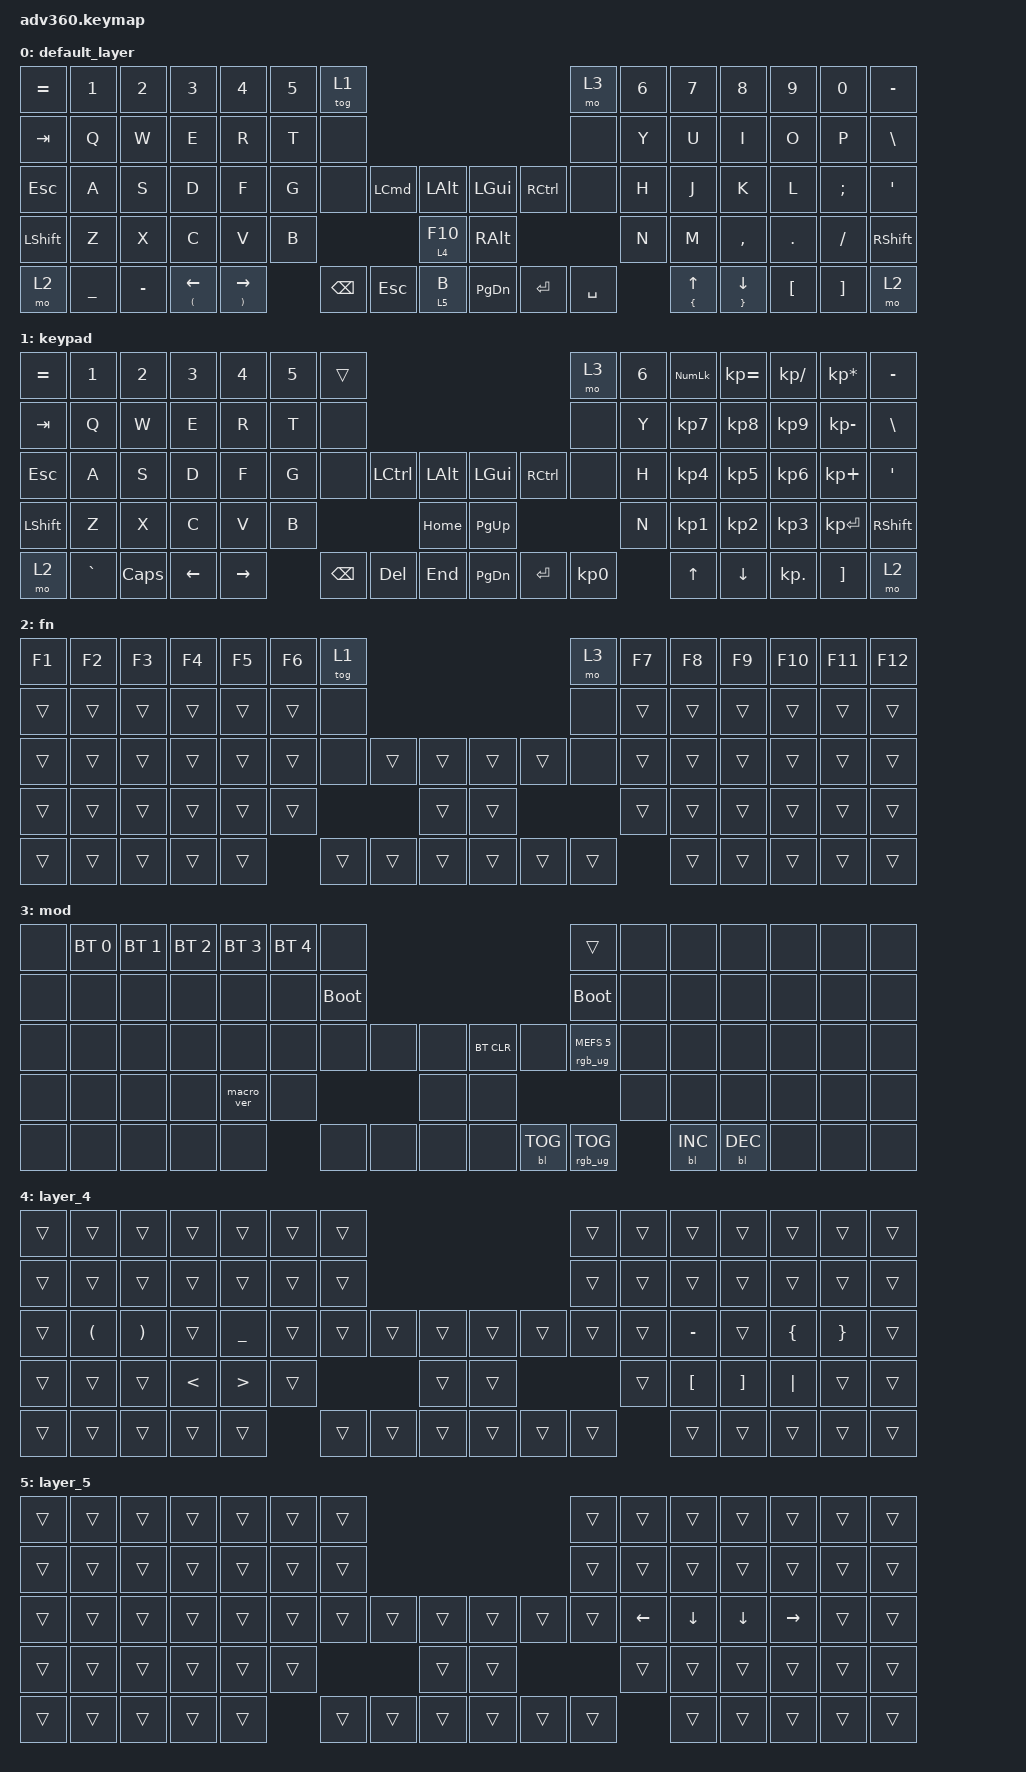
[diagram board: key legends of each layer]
#include <behaviors.dtsi>
#include <dt-bindings/zmk/backlight.h>
#include <dt-bindings/zmk/bt.h>
#include <dt-bindings/zmk/keys.h>
#include <dt-bindings/zmk/rgb.h>

/ {
    behaviors {
        #include "macros.dtsi"
      #include "version.dtsi"
      #ifndef VERSION_MACRO

        macro_ver: macro_ver {
            compatible = "zmk,behavior-macro";
            label = "macro_version";
            #binding-cells = <0>;
            bindings = <&kp RET>;
        };

        #endif

        hm: homerow_mods {
            compatible = "zmk,behavior-hold-tap";
            label = "HOMEROW_MODS";
            #binding-cells = <2>;
            tapping-term-ms = <200>;
            quick_tap_ms = <175>;
            flavor = "tap-preferred";
            bindings = <&kp>, <&kp>;
        };

        hold_tap: hold_tap {
            compatible = "zmk,behavior-hold-tap";
            label = "HOLD_TAP";
            bindings = <&kp>, <&kp>;

            #binding-cells = <2>;
            tapping-term-ms = <200>;
        };
    };

    macros {
    };

    keymap {
        compatible = "zmk,keymap";

        default_layer {
            bindings = <
&kp EQUAL  &kp N1     &kp N2     &kp N3                                 &kp N4                             &kp N5  &tog 1                                                               &mo 3      &kp N6  &kp N7                         &kp N8                            &kp N9    &kp N0    &kp MINUS
&kp TAB    &kp Q      &kp W      &kp E                                  &kp R                              &kp T   &none                                                                &none      &kp Y   &kp U                          &kp I                             &kp O     &kp P     &kp BSLH
&kp ESC    &kp A      &kp S      &kp D                                  &kp F                              &kp G   &none     &kp LEFT_COMMAND  &kp LALT       &kp LGUI       &kp RCTRL  &none      &kp H   &kp J                          &kp K                             &kp L     &kp SEMI  &kp SQT
&kp LSHFT  &kp Z      &kp X      &kp C                                  &kp V                              &kp B                               &lt 4 F10      &kp RIGHT_ALT                        &kp N   &kp M                          &kp COMMA                         &kp DOT   &kp FSLH  &kp RSHFT
&mo 2      &kp UNDER  &kp MINUS  &hold_tap LEFT_PARENTHESIS LEFT_ARROW  &hold_tap RIGHT_PARENTHESIS RIGHT          &kp BSPC  &kp ESC           &lt 5 B        &kp PG_DN      &kp ENTER  &kp SPACE          &hold_tap LEFT_BRACE UP_ARROW  &hold_tap RIGHT_BRACE DOWN_ARROW  &kp LBKT  &kp RBKT  &mo 2
            >;
        };

        keypad {
            bindings = <
&kp EQUAL  &kp N1     &kp N2    &kp N3    &kp N4     &kp N5  &trans                                                   &mo 3      &kp N6  &kp KP_NUM  &kp KP_EQUAL  &kp KP_DIVIDE  &kp KP_MULTIPLY  &kp MINUS
&kp TAB    &kp Q      &kp W     &kp E     &kp R      &kp T   &none                                                    &none      &kp Y   &kp KP_N7   &kp KP_N8     &kp KP_N9      &kp KP_MINUS     &kp BSLH
&kp ESC    &kp A      &kp S     &kp D     &kp F      &kp G   &none     &kp LCTRL  &kp LALT      &kp LGUI   &kp RCTRL  &none      &kp H   &kp KP_N4   &kp KP_N5     &kp KP_N6      &kp KP_PLUS      &kp SQT
&kp LSHFT  &kp Z      &kp X     &kp C     &kp V      &kp B                        &kp HOME      &kp PG_UP                        &kp N   &kp KP_N1   &kp KP_N2     &kp KP_N3      &kp KP_ENTER     &kp RSHFT
&mo 2      &kp GRAVE  &kp CAPS  &kp LEFT  &kp RIGHT          &kp BSPC  &kp DEL    &kp END       &kp PG_DN  &kp ENTER  &kp KP_N0          &kp UP      &kp DOWN      &kp KP_DOT     &kp RBKT         &mo 2
            >;
        };

        fn {
            bindings = <
&kp F1  &kp F2  &kp F3  &kp F4  &kp F5  &kp F6  &tog 1                                      &mo 3   &kp F7  &kp F8  &kp F9  &kp F10  &kp F11  &kp F12
&trans  &trans  &trans  &trans  &trans  &trans  &none                                       &none   &trans  &trans  &trans  &trans   &trans   &trans
&trans  &trans  &trans  &trans  &trans  &trans  &none   &trans  &trans      &trans  &trans  &none   &trans  &trans  &trans  &trans   &trans   &trans
&trans  &trans  &trans  &trans  &trans  &trans                  &trans      &trans                  &trans  &trans  &trans  &trans   &trans   &trans
&trans  &trans  &trans  &trans  &trans          &trans  &trans  &trans      &trans  &trans  &trans          &trans  &trans  &trans   &trans   &trans
            >;
        };

        mod {
            bindings = <
&none  &bt BT_SEL 0  &bt BT_SEL 1  &bt BT_SEL 2  &bt BT_SEL 3  &bt BT_SEL 4  &none                                                  &trans                  &none  &none       &none       &none  &none  &none
&none  &none         &none         &none         &none         &none         &bootloader                                            &bootloader             &none  &none       &none       &none  &none  &none
&none  &none         &none         &none         &none         &none         &none        &none  &none      &bt BT_CLR  &none       &rgb_ug RGB_MEFS_CMD 5  &none  &none       &none       &none  &none  &none
&none  &none         &none         &none         &macro_ver    &none                             &none      &none                                           &none  &none       &none       &none  &none  &none
&none  &none         &none         &none         &none                       &none        &none  &none      &none       &bl BL_TOG  &rgb_ug RGB_TOG                &bl BL_INC  &bl BL_DEC  &none  &none  &none
            >;
        };

        layer_4 {
            bindings = <
&trans  &trans                &trans                 &trans         &trans            &trans  &trans                                      &trans  &trans  &trans            &trans             &trans          &trans           &trans
&trans  &trans                &trans                 &trans         &trans            &trans  &trans                                      &trans  &trans  &trans            &trans             &trans          &trans           &trans
&trans  &kp LEFT_PARENTHESIS  &kp RIGHT_PARENTHESIS  &trans         &kp UNDERSCORE    &trans  &trans  &trans  &trans      &trans  &trans  &trans  &trans  &kp MINUS         &trans             &kp LEFT_BRACE  &kp RIGHT_BRACE  &trans
&trans  &trans                &trans                 &kp LESS_THAN  &kp GREATER_THAN  &trans                  &trans      &trans                  &trans  &kp LEFT_BRACKET  &kp RIGHT_BRACKET  &kp PIPE        &trans           &trans
&trans  &trans                &trans                 &trans         &trans                    &trans  &trans  &trans      &trans  &trans  &trans          &trans            &trans             &trans          &trans           &trans
            >;
        };

        layer_5 {
            bindings = <
&trans  &trans  &trans  &trans  &trans  &trans  &trans                                      &trans  &trans          &trans    &trans          &trans     &trans  &trans
&trans  &trans  &trans  &trans  &trans  &trans  &trans                                      &trans  &trans          &trans    &trans          &trans     &trans  &trans
&trans  &trans  &trans  &trans  &trans  &trans  &trans  &trans  &trans      &trans  &trans  &trans  &kp LEFT_ARROW  &kp DOWN  &kp DOWN_ARROW  &kp RIGHT  &trans  &trans
&trans  &trans  &trans  &trans  &trans  &trans                  &trans      &trans                  &trans          &trans    &trans          &trans     &trans  &trans
&trans  &trans  &trans  &trans  &trans          &trans  &trans  &trans      &trans  &trans  &trans                  &trans    &trans          &trans     &trans  &trans
            >;
        };
    };
};
